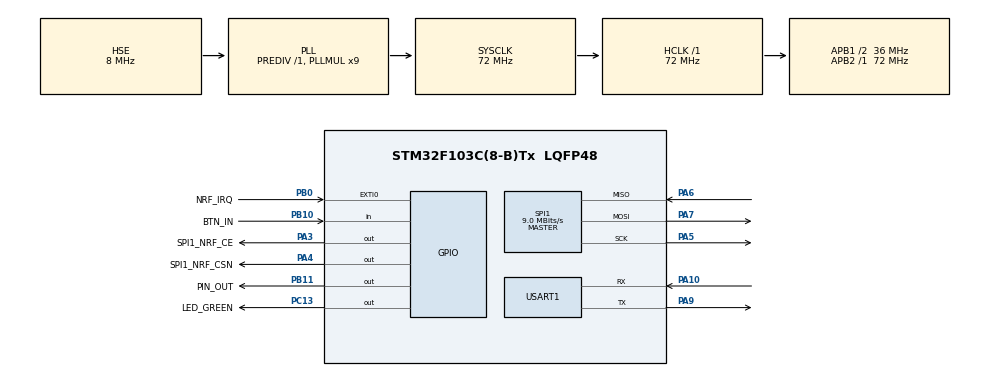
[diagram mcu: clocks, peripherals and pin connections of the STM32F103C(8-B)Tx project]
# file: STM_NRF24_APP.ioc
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Mcu.Family=STM32F1
Mcu.Name=STM32F103C(8-B)Tx
Mcu.Package=LQFP48
NVIC.EXTI0_IRQn=true\:0\:0\:false\:false\:true\:true\:true
NVIC.PriorityGroup=NVIC_PRIORITYGROUP_4
NVIC.TIM4_IRQn=true\:0\:0\:false\:false\:true\:true\:true
PA10.Mode=Asynchronous
PA10.Signal=USART1_RX
PA13.Mode=Serial_Wire
PA13.Signal=SYS_JTMS-SWDIO
PA14.Mode=Serial_Wire
PA14.Signal=SYS_JTCK-SWCLK
PA3.GPIO_Label=SPI1_NRF_CE
PA3.Signal=GPIO_Output
PA4.GPIO_Label=SPI1_NRF_CSN
PA4.Signal=GPIO_Output
PA5.Mode=Full_Duplex_Master
PA5.Signal=SPI1_SCK
PA6.Mode=Full_Duplex_Master
PA6.Signal=SPI1_MISO
PA7.Mode=Full_Duplex_Master
PA7.Signal=SPI1_MOSI
PA9.Mode=Asynchronous
PA9.Signal=USART1_TX
PB0.GPIO_Label=NRF_IRQ
PB0.GPIO_ModeDefaultEXTI=GPIO_MODE_IT_FALLING
PB0.Signal=GPXTI0
PB10.GPIO_Label=BTN_IN
PB10.GPIO_PuPd=GPIO_PULLDOWN
PB10.Signal=GPIO_Input
PB11.GPIO_Label=PIN_OUT
PB11.Signal=GPIO_Output
PC13-TAMPER-RTC.GPIO_Label=LED_GREEN
PC13-TAMPER-RTC.Signal=GPIO_Output
PC14-OSC32_IN.Mode=LSE-External-Oscillator
PC14-OSC32_IN.Signal=RCC_OSC32_IN
PC15-OSC32_OUT.Mode=LSE-External-Oscillator
PC15-OSC32_OUT.Signal=RCC_OSC32_OUT
PD0-OSC_IN.Mode=HSE-External-Oscillator
PD0-OSC_IN.Signal=RCC_OSC_IN
PD1-OSC_OUT.Mode=HSE-External-Oscillator
PD1-OSC_OUT.Signal=RCC_OSC_OUT
ProjectManager.HeapSize=0x200
ProjectManager.StackSize=0x400
ProjectManager.TargetToolchain=EWARM V8.32
RCC.ADCPresc=RCC_ADCPCLK2_DIV8
RCC.AHBFreq_Value=72000000
RCC.APB1CLKDivider=RCC_HCLK_DIV2
RCC.APB1Freq_Value=36000000
RCC.APB1TimFreq_Value=72000000
RCC.APB2Freq_Value=72000000
RCC.APB2TimFreq_Value=72000000
RCC.HCLKFreq_Value=72000000
RCC.PLLMUL=RCC_PLL_MUL9
RCC.PLLSourceVirtual=RCC_PLLSOURCE_HSE
RCC.SYSCLKFreq_VALUE=72000000
RCC.SYSCLKSource=RCC_SYSCLKSOURCE_PLLCLK
RCC.USBFreq_Value=72000000
SPI1.BaudRatePrescaler=SPI_BAUDRATEPRESCALER_8
SPI1.CalculateBaudRate=9.0 MBits/s
SPI1.Direction=SPI_DIRECTION_2LINES
SPI1.Mode=SPI_MODE_MASTER
SPI1.VirtualType=VM_MASTER
TIM4.Period=10000
TIM4.Prescaler=7200
USART1.VirtualMode=VM_ASYNC
VP_TIM4_VS_ClockSourceINT.Mode=Internal
board=custom

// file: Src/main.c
/* USER CODE BEGIN Header */
/**
  ******************************************************************************
  * @file           : main.c
  * @brief          : Main program body
  ******************************************************************************
  * @attention
  *
  * <h2><center>&copy; Copyright (c) 2020 STMicroelectronics.
  * All rights reserved.</center></h2>
  *
  * This software component is licensed by ST under BSD 3-Clause license,
  * the "License"; You may not use this file except in compliance with the
  * License. You may obtain a copy of the License at:
  *                        opensource.org/licenses/BSD-3-Clause
  *
  ******************************************************************************
  */
/* USER CODE END Header */
#include "main.h"

/* USER CODE BEGIN Includes */

#include "stm_nrf24_arduinoforked_library.h"
#include "stdio.h"

/* USER CODE END Includes */

SPI_HandleTypeDef hspi1;

TIM_HandleTypeDef htim4;

UART_HandleTypeDef huart1;

/* USER CODE BEGIN PV */

#ifdef __GNUC__
#define PUTCHAR_PROTOTYPE_PUT int __io_putchar(int ch)
#define PUTCHAR_PROTOTYPE_GET int __io_getchar(int ch)
#else
#define PUTCHAR_PROTOTYPE_PUT int fputc(int ch, FILE *f)
#define PUTCHAR_PROTOTYPE_GET int fgetc(FILE *f)
#endif

PUTCHAR_PROTOTYPE_PUT
{
  HAL_UART_Transmit(&huart1, (uint8_t*)&ch, 1, 0xFF);
  if(ch == '\n')
  {
    ch = '\r';
    HAL_UART_Transmit(&huart1, (uint8_t*)&ch, 1, 0xFF);
  }
  return ch;
}

PUTCHAR_PROTOTYPE_GET
{
  uint8_t ch;
  while( HAL_UART_Receive(&huart1, (uint8_t*)&ch, 1, 0xFFFF) != HAL_OK);
  return ch;
}

/* USER CODE END PV */

void SystemClock_Config(void);
static void MX_GPIO_Init(void);
static void MX_SPI1_Init(void);
static void MX_USART1_UART_Init(void);
static void MX_TIM4_Init(void);

/* USER CODE BEGIN 0 */

uint32_t radio_transferred_amount = 0;
uint32_t radio_transferred_amount_past = 0;

uint32_t radio_dropped_amount = 0;
uint32_t radio_dropped_amount_past = 0;

uint8_t incoming_pipeno = 0, nrf24_status = 0;
#define RADIO_ADR_WIDTH 5
#define PAYLOAD_LEN 32
uint8_t radio_payload[PAYLOAD_LEN+1] = {0};

uint8_t NRF24_RADIO_ADDRESS[RADIO_ADR_WIDTH] = {0x12, 0x34, 0xAB, 0xCD, 0xEF};

volatile uint8_t timer_elapsed = 0;
void HAL_TIM_PeriodElapsedCallback(TIM_HandleTypeDef *htim)
{
  if(htim->Instance == htim4.Instance)
  {
    timer_elapsed = 1;
  }
}

volatile uint8_t nrf_irq_pin_active = 0;
void HAL_GPIO_EXTI_Callback(uint16_t GPIO_Pin)
{
  if(GPIO_Pin == GPIO_PIN_0)
  {
    nrf_irq_pin_active = 1;
  }
}

//#define MASTER_TRANSFER_ROLE

/* USER CODE END 0 */

int main(void)
{

  /* MCU Configuration--------------------------------------------------------*/

  /* Reset of all peripherals, Initializes the Flash interface and the Systick. */
  HAL_Init();

  /* Configure the system clock */
  SystemClock_Config();

  /* Initialize all configured peripherals */
  MX_GPIO_Init();
  MX_SPI1_Init();
  MX_USART1_UART_Init();
  MX_TIM4_Init();

  /* Infinite loop */
  /* USER CODE BEGIN WHILE */

  NRF24L01_Init();
  nrf24_setAutoAck(1);
  nrf24_enableAckPayload();
  setPALevel(RF24_PA_MAX);
  openReadingPipe(1, NRF24_RADIO_ADDRESS, RADIO_ADR_WIDTH, PAYLOAD_LEN);
  openWritingPipe(NRF24_RADIO_ADDRESS, RADIO_ADR_WIDTH,PAYLOAD_LEN);

#ifdef MASTER_TRANSFER_ROLE

  printf("!!!!!!!!! MASTER ROLE !!!!!!!!!\n");
  stopListening();

  nrf_irq_pin_active = 0;
  nrf24_write_IT(radio_payload, PAYLOAD_LEN);

#else
  printf("!!!!!!!!! SLAVE ROLE !!!!!!!!!\n");
  startListening(NRF24_RADIO_ADDRESS, RADIO_ADR_WIDTH);
#endif

  while (1)
  {
    /* USER CODE END WHILE */

    /* USER CODE BEGIN 3 */
#ifdef MASTER_TRANSFER_ROLE

    if(timer_elapsed == 1)
    {
      timer_elapsed = 0;

      printf("\rTX:%5d\tdrop:%5d\t",
             radio_transferred_amount - radio_transferred_amount_past,
             radio_dropped_amount - radio_dropped_amount_past);

      if(radio_transferred_amount - radio_transferred_amount_past < 100)
      {
        HAL_GPIO_WritePin(LED_GREEN_GPIO_Port, LED_GREEN_Pin, GPIO_PIN_SET);
      }
      else
      {
        HAL_GPIO_WritePin(LED_GREEN_GPIO_Port, LED_GREEN_Pin, GPIO_PIN_RESET);
      }

      radio_transferred_amount_past = radio_transferred_amount;
      radio_dropped_amount_past = radio_dropped_amount;

//      static uint8_t rotate = 0;
//      rotate++;
//      if(rotate >= 26) rotate = 0;
//
//      for(int i=0;i<32;i++)
//        radio_payload[i] = 'A'+((i+rotate)%26);
    }

    if(nrf_irq_pin_active == 1)
    {
      nrf_irq_pin_active = 0;

      nrf24_status = get_status();

      if(nrf24_status & (1<<TX_DS))
      {
//        printf("data sent %s\n", radio_payload);

        while(nrf24_rxfifo_available())
        {
          nrf24_read_payload(radio_payload, PAYLOAD_LEN);
//          printf("receive:%s\n", radio_payload);

          HAL_GPIO_WritePin(PIN_OUT_GPIO_Port, PIN_OUT_Pin, (GPIO_PinState)radio_payload[10]);
        }

        nrf24_clear_flags();

        radio_transferred_amount+=PAYLOAD_LEN;
      }
      else if(nrf24_status & (1<<MAX_RT))
      {
//        printf("data send failed\n");

        nrf24_flush_rx();
        nrf24_flush_tx();

        radio_dropped_amount+=PAYLOAD_LEN;
      }

      nrf24_clear_flags();

      radio_payload[10] = HAL_GPIO_ReadPin(BTN_IN_GPIO_Port, BTN_IN_Pin);
      nrf_irq_pin_active = 0;
      nrf24_write_IT(radio_payload, PAYLOAD_LEN);
    }

#else

    if(timer_elapsed == 1)
    {
      timer_elapsed = 0;

      printf("\rRX:%5d\t",
             radio_transferred_amount - radio_transferred_amount_past);

      if(radio_transferred_amount - radio_transferred_amount_past < 100)
      {
        HAL_GPIO_WritePin(LED_GREEN_GPIO_Port, LED_GREEN_Pin, GPIO_PIN_SET);
      }
      else
      {
        HAL_GPIO_WritePin(LED_GREEN_GPIO_Port, LED_GREEN_Pin, GPIO_PIN_RESET);
      }

      radio_transferred_amount_past = radio_transferred_amount;
    }

    if(nrf_irq_pin_active == 1)
    {
      nrf_irq_pin_active = 0;

      nrf24_status = get_status();

      if(nrf24_status & (1<<RX_DR))
      {
        while(nrf24_rxfifo_available())
        {
          incoming_pipeno = get_incoming_pipeno();
          nrf24_read_payload(radio_payload,PAYLOAD_LEN);

          uint8_t temp[32];
//          for(uint8_t i=0;i<32;i++)
//          {
//            temp[i] = radio_payload[32-i-1];
//          }

          HAL_GPIO_WritePin(PIN_OUT_GPIO_Port, PIN_OUT_Pin, (GPIO_PinState)radio_payload[10]);
          temp[10] = HAL_GPIO_ReadPin(BTN_IN_GPIO_Port, BTN_IN_Pin);

          nrf24_ack_write_IT(temp, PAYLOAD_LEN,incoming_pipeno);
          radio_transferred_amount+=32;
        }
      }
    }

#endif
  }
  /* USER CODE END 3 */
}

void SystemClock_Config(void)
{
  RCC_OscInitTypeDef RCC_OscInitStruct = {0};
  RCC_ClkInitTypeDef RCC_ClkInitStruct = {0};

  /** Initializes the RCC Oscillators according to the specified parameters
  * in the RCC_OscInitTypeDef structure.
  */
  RCC_OscInitStruct.OscillatorType = RCC_OSCILLATORTYPE_HSE;
  RCC_OscInitStruct.HSEState = RCC_HSE_ON;
  RCC_OscInitStruct.HSEPredivValue = RCC_HSE_PREDIV_DIV1;
  RCC_OscInitStruct.HSIState = RCC_HSI_ON;
  RCC_OscInitStruct.PLL.PLLState = RCC_PLL_ON;
  RCC_OscInitStruct.PLL.PLLSource = RCC_PLLSOURCE_HSE;
  RCC_OscInitStruct.PLL.PLLMUL = RCC_PLL_MUL9;
  if (HAL_RCC_OscConfig(&RCC_OscInitStruct) != HAL_OK)
  {
    Error_Handler();
  }
  /** Initializes the CPU, AHB and APB buses clocks
  */
  RCC_ClkInitStruct.ClockType = RCC_CLOCKTYPE_HCLK|RCC_CLOCKTYPE_SYSCLK
                              |RCC_CLOCKTYPE_PCLK1|RCC_CLOCKTYPE_PCLK2;
  RCC_ClkInitStruct.SYSCLKSource = RCC_SYSCLKSOURCE_PLLCLK;
  RCC_ClkInitStruct.AHBCLKDivider = RCC_SYSCLK_DIV1;
  RCC_ClkInitStruct.APB1CLKDivider = RCC_HCLK_DIV2;
  RCC_ClkInitStruct.APB2CLKDivider = RCC_HCLK_DIV1;

  if (HAL_RCC_ClockConfig(&RCC_ClkInitStruct, FLASH_LATENCY_2) != HAL_OK)
  {
    Error_Handler();
  }
}

static void MX_SPI1_Init(void)
{

  /* SPI1 parameter configuration*/
  hspi1.Instance = SPI1;
  hspi1.Init.Mode = SPI_MODE_MASTER;
  hspi1.Init.Direction = SPI_DIRECTION_2LINES;
  hspi1.Init.DataSize = SPI_DATASIZE_8BIT;
  hspi1.Init.CLKPolarity = SPI_POLARITY_LOW;
  hspi1.Init.CLKPhase = SPI_PHASE_1EDGE;
  hspi1.Init.NSS = SPI_NSS_SOFT;
  hspi1.Init.BaudRatePrescaler = SPI_BAUDRATEPRESCALER_8;
  hspi1.Init.FirstBit = SPI_FIRSTBIT_MSB;
  hspi1.Init.TIMode = SPI_TIMODE_DISABLE;
  hspi1.Init.CRCCalculation = SPI_CRCCALCULATION_DISABLE;
  hspi1.Init.CRCPolynomial = 10;
  if (HAL_SPI_Init(&hspi1) != HAL_OK)
  {
    Error_Handler();
  }

}

static void MX_TIM4_Init(void)
{

  TIM_ClockConfigTypeDef sClockSourceConfig = {0};
  TIM_MasterConfigTypeDef sMasterConfig = {0};

  htim4.Instance = TIM4;
  htim4.Init.Prescaler = 7200;
  htim4.Init.CounterMode = TIM_COUNTERMODE_UP;
  htim4.Init.Period = 10000;
  htim4.Init.ClockDivision = TIM_CLOCKDIVISION_DIV1;
  htim4.Init.AutoReloadPreload = TIM_AUTORELOAD_PRELOAD_DISABLE;
  if (HAL_TIM_Base_Init(&htim4) != HAL_OK)
  {
    Error_Handler();
  }
  sClockSourceConfig.ClockSource = TIM_CLOCKSOURCE_INTERNAL;
  if (HAL_TIM_ConfigClockSource(&htim4, &sClockSourceConfig) != HAL_OK)
  {
    Error_Handler();
  }
  sMasterConfig.MasterOutputTrigger = TIM_TRGO_RESET;
  sMasterConfig.MasterSlaveMode = TIM_MASTERSLAVEMODE_DISABLE;
  if (HAL_TIMEx_MasterConfigSynchronization(&htim4, &sMasterConfig) != HAL_OK)
  {
    Error_Handler();
  }
  /* USER CODE BEGIN TIM4_Init 2 */
  if (HAL_TIM_Base_Start_IT(&htim4) != HAL_OK)
  {
    Error_Handler();
  }
  /* USER CODE END TIM4_Init 2 */

}

static void MX_USART1_UART_Init(void)
{

  huart1.Instance = USART1;
  huart1.Init.BaudRate = 115200;
  huart1.Init.WordLength = UART_WORDLENGTH_8B;
  huart1.Init.StopBits = UART_STOPBITS_1;
  huart1.Init.Parity = UART_PARITY_NONE;
  huart1.Init.Mode = UART_MODE_TX_RX;
  huart1.Init.HwFlowCtl = UART_HWCONTROL_NONE;
  huart1.Init.OverSampling = UART_OVERSAMPLING_16;
  if (HAL_UART_Init(&huart1) != HAL_OK)
  {
    Error_Handler();
  }

}

static void MX_GPIO_Init(void)
{
  GPIO_InitTypeDef GPIO_InitStruct = {0};

  /* GPIO Ports Clock Enable */
  __HAL_RCC_GPIOC_CLK_ENABLE();
  __HAL_RCC_GPIOD_CLK_ENABLE();
  __HAL_RCC_GPIOA_CLK_ENABLE();
  __HAL_RCC_GPIOB_CLK_ENABLE();

  /*Configure GPIO pin Output Level */
  HAL_GPIO_WritePin(LED_GREEN_GPIO_Port, LED_GREEN_Pin, GPIO_PIN_RESET);

  /*Configure GPIO pin Output Level */
  HAL_GPIO_WritePin(GPIOA, SPI1_NRF_CE_Pin|SPI1_NRF_CSN_Pin, GPIO_PIN_RESET);

  /*Configure GPIO pin Output Level */
  HAL_GPIO_WritePin(PIN_OUT_GPIO_Port, PIN_OUT_Pin, GPIO_PIN_RESET);

  /*Configure GPIO pin : LED_GREEN_Pin */
  GPIO_InitStruct.Pin = LED_GREEN_Pin;
  GPIO_InitStruct.Mode = GPIO_MODE_OUTPUT_PP;
  GPIO_InitStruct.Pull = GPIO_NOPULL;
  GPIO_InitStruct.Speed = GPIO_SPEED_FREQ_LOW;
  HAL_GPIO_Init(LED_GREEN_GPIO_Port, &GPIO_InitStruct);

  /*Configure GPIO pins : SPI1_NRF_CE_Pin SPI1_NRF_CSN_Pin */
  GPIO_InitStruct.Pin = SPI1_NRF_CE_Pin|SPI1_NRF_CSN_Pin;
  GPIO_InitStruct.Mode = GPIO_MODE_OUTPUT_PP;
  GPIO_InitStruct.Pull = GPIO_NOPULL;
  GPIO_InitStruct.Speed = GPIO_SPEED_FREQ_LOW;
  HAL_GPIO_Init(GPIOA, &GPIO_InitStruct);

  /*Configure GPIO pin : NRF_IRQ_Pin */
  GPIO_InitStruct.Pin = NRF_IRQ_Pin;
  GPIO_InitStruct.Mode = GPIO_MODE_IT_FALLING;
  GPIO_InitStruct.Pull = GPIO_NOPULL;
  HAL_GPIO_Init(NRF_IRQ_GPIO_Port, &GPIO_InitStruct);

  /*Configure GPIO pin : BTN_IN_Pin */
  GPIO_InitStruct.Pin = BTN_IN_Pin;
  GPIO_InitStruct.Mode = GPIO_MODE_INPUT;
  GPIO_InitStruct.Pull = GPIO_PULLDOWN;
  HAL_GPIO_Init(BTN_IN_GPIO_Port, &GPIO_InitStruct);

  /*Configure GPIO pin : PIN_OUT_Pin */
  GPIO_InitStruct.Pin = PIN_OUT_Pin;
  GPIO_InitStruct.Mode = GPIO_MODE_OUTPUT_PP;
  GPIO_InitStruct.Pull = GPIO_NOPULL;
  GPIO_InitStruct.Speed = GPIO_SPEED_FREQ_LOW;
  HAL_GPIO_Init(PIN_OUT_GPIO_Port, &GPIO_InitStruct);

  /* EXTI interrupt init*/
  HAL_NVIC_SetPriority(EXTI0_IRQn, 0, 0);
  HAL_NVIC_EnableIRQ(EXTI0_IRQn);

}

void Error_Handler(void)
{
  /* USER CODE BEGIN Error_Handler_Debug */
  /* User can add his own implementation to report the HAL error return state */

  printf("\n\n");
  uint8_t step = 0;
  char msg[] = "ERRORHANDLER";
  while(1)
  {
    step++;
    if(step >= 12) step = 0;
    msg[step] += 32;
    printf("\r%s", msg);
    msg[step] -= 32;
    HAL_GPIO_TogglePin(LED_GREEN_GPIO_Port, LED_GREEN_Pin);
    HAL_Delay(200);
  }
  /* USER CODE END Error_Handler_Debug */
}

/************************ (C) COPYRIGHT STMicroelectronics *****END OF FILE****/
